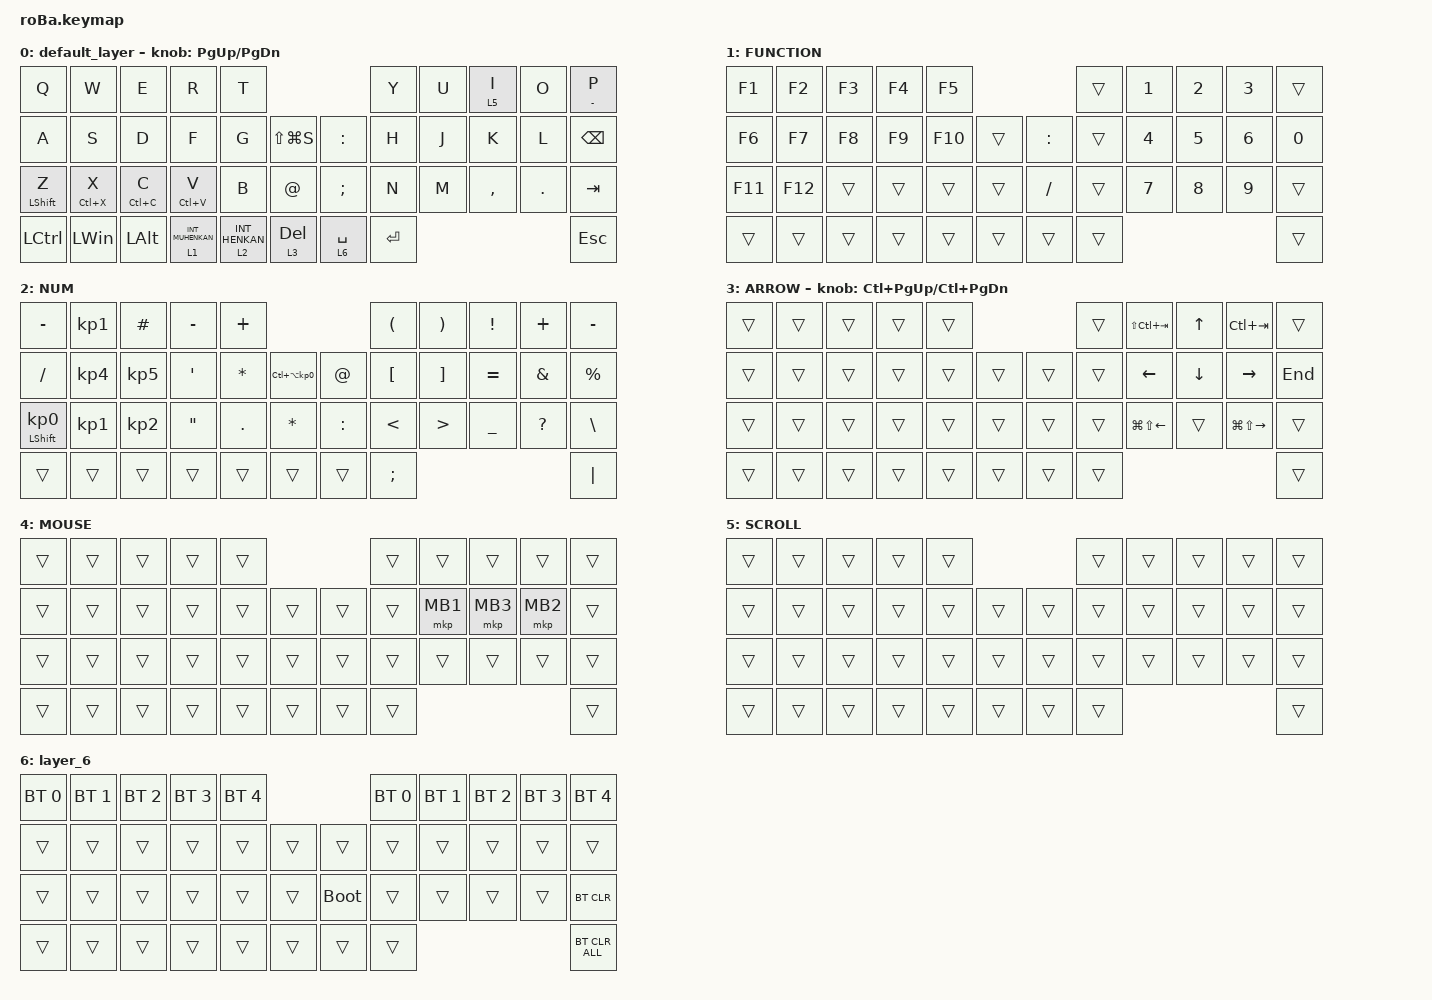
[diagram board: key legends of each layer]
#include <behaviors.dtsi>
#include <dt-bindings/zmk/bt.h>
#include <dt-bindings/zmk/keys.h>
#include <dt-bindings/zmk/pointing.h>

&mt {
    flavor = "balanced";
    quick-tap-ms = <0>;
};

&trackball {
    automouse-layer = <4>;
    scroll-layers = <5>;

    // arrows {
    //     layers = <3>;
    //     bindings =
    //         <&kp RIGHT_ARROW>,
    //         <&kp LEFT_ARROW>,
    //         <&kp UP_ARROW>,
    //         <&kp DOWN_ARROW>;
    //     tick = <10>;
    //     wait-ms = <5>;
    //     tap-ms = <5>;
    // };
};

/ {
    combos {
        compatible = "zmk,combos";

        tab {
            bindings = <&kp TAB>;
            key-positions = <11 12>;
        };

        shift_tab {
            bindings = <&kp LS(TAB)>;
            key-positions = <12 13>;
        };

        muhennkann {
            bindings = <&to_layer_0 INT_MUHENKAN>;
            key-positions = <11 10>;
        };

        double_quotation {
            bindings = <&kp DOUBLE_QUOTES>;
            key-positions = <20 21>;
        };

        eq {
            bindings = <&kp EQUAL>;
            key-positions = <24 25>;
        };
    };

    macros {
        to_layer_0: to_layer_0 {
            compatible = "zmk,behavior-macro-one-param";
            #binding-cells = <1>;
            bindings = <&to 0 &macro_param_1to1 &kp MACRO_PLACEHOLDER>;
            label = "TO_LAYER_0";
        };
    };

    behaviors {
        lt_to_layer_0: lt_to_layer_0 {
            compatible = "zmk,behavior-hold-tap";
            label = "LAYER_TAP_TO_0";
            bindings = <&mo>, <&to_layer_0>;

            #binding-cells = <2>;
            tapping-term-ms = <200>;
        };
    };

    keymap {
        compatible = "zmk,keymap";

        default_layer {
            bindings = <
&kp Q             &kp W         &kp E         &kp R               &kp T                                               &kp Y      &kp U  &lt 5 I    &kp O    &mt MINUS P
&kp A             &kp S         &kp D         &kp F               &kp G             &kp LS(LG(S))      &kp COLON      &kp H      &kp J  &kp K      &kp L    &kp BACKSPACE
&mt LEFT_SHIFT Z  &mt LC(X) X   &mt LC(C) C   &mt LC(V) V         &kp B             &kp AT             &kp SEMICOLON  &kp N      &kp M  &kp COMMA  &kp DOT  &kp TAB
&kp LCTRL         &kp LEFT_WIN  &kp LEFT_ALT  &lt 1 INT_MUHENKAN  &lt 2 INT_HENKAN  &lt 3 DELETE       &lt 6 SPACE    &kp ENTER                             &kp ESCAPE
            >;

            sensor-bindings = <&inc_dec_kp PG_UP PAGE_DOWN>;
        };

        FUNCTION {
            bindings = <
&kp F1   &kp F2   &kp F3  &kp F4  &kp F5                          &trans  &kp N1  &kp N2  &kp N3  &trans
&kp F6   &kp F7   &kp F8  &kp F9  &kp F10  &trans      &kp COLON  &trans  &kp N4  &kp N5  &kp N6  &kp N0
&kp F11  &kp F12  &trans  &trans  &trans   &trans      &kp SLASH  &trans  &kp N7  &kp N8  &kp N9  &trans
&trans   &trans   &trans  &trans  &trans   &trans      &trans     &trans                          &trans
            >;
        };

        NUM {
            bindings = <
&kp MINUS                   &kp KP_NUMBER_1  &kp HASH         &kp MINUS          &kp PLUS                                                &kp LEFT_PARENTHESIS  &kp RIGHT_PARENTHESIS  &kp EXCLAMATION  &kp PLUS       &kp MINUS
&kp SLASH                   &kp KP_NUMBER_4  &kp KP_NUMBER_5  &kp SINGLE_QUOTE   &kp ASTERISK  &kp LC(LA(KP_NUMBER_0))      &kp AT_SIGN  &kp LEFT_BRACKET      &kp RIGHT_BRACKET      &kp EQUAL        &kp AMPERSAND  &kp PERCENT
&mt LEFT_SHIFT KP_NUMBER_0  &kp KP_NUMBER_1  &kp KP_NUMBER_2  &kp DOUBLE_QUOTES  &kp PERIOD    &kp STAR                     &kp COLON    &kp LESS_THAN         &kp GREATER_THAN       &kp UNDERSCORE   &kp QUESTION   &kp BACKSLASH
&trans                      &trans           &trans           &trans             &trans        &trans                       &trans       &kp SEMI                                                                     &kp PIPE
            >;
        };

        ARROW {
            bindings = <
&trans  &trans  &trans  &trans  &trans                      &trans  &kp LS(LC(TAB))   &kp UP_ARROW    &kp LC(TAB)        &trans
&trans  &trans  &trans  &trans  &trans  &trans      &trans  &trans  &kp LEFT          &kp DOWN_ARROW  &kp RIGHT          &kp END
&trans  &trans  &trans  &trans  &trans  &trans      &trans  &trans  &kp LG(LS(LEFT))  &trans          &kp LG(LS(RIGHT))  &trans
&trans  &trans  &trans  &trans  &trans  &trans      &trans  &trans                                                       &trans
            >;

            sensor-bindings = <&inc_dec_kp LC(PAGE_UP) LC(PAGE_DOWN)>;
        };

        MOUSE {
            bindings = <
&trans  &trans  &trans  &trans  &trans                      &trans  &trans    &trans    &trans    &trans
&trans  &trans  &trans  &trans  &trans  &trans      &trans  &trans  &mkp MB1  &mkp MB3  &mkp MB2  &trans
&trans  &trans  &trans  &trans  &trans  &trans      &trans  &trans  &trans    &trans    &trans    &trans
&trans  &trans  &trans  &trans  &trans  &trans      &trans  &trans                                &trans
            >;
        };

        SCROLL {
            bindings = <
&trans  &trans  &trans  &trans  &trans                      &trans  &trans  &trans  &trans  &trans
&trans  &trans  &trans  &trans  &trans  &trans      &trans  &trans  &trans  &trans  &trans  &trans
&trans  &trans  &trans  &trans  &trans  &trans      &trans  &trans  &trans  &trans  &trans  &trans
&trans  &trans  &trans  &trans  &trans  &trans      &trans  &trans                          &trans
            >;
        };

        layer_6 {
            bindings = <
&bt BT_SEL 0  &bt BT_SEL 1  &bt BT_SEL 2  &bt BT_SEL 3  &bt BT_SEL 4                           &bt BT_SEL 0  &bt BT_SEL 1  &bt BT_SEL 2  &bt BT_SEL 3  &bt BT_SEL 4
&trans        &trans        &trans        &trans        &trans        &trans      &trans       &trans        &trans        &trans        &trans        &trans
&trans        &trans        &trans        &trans        &trans        &trans      &bootloader  &trans        &trans        &trans        &trans        &bt BT_CLR
&trans        &trans        &trans        &trans        &trans        &trans      &trans       &trans                                                  &bt BT_CLR_ALL
            >;
        };
    };
};
